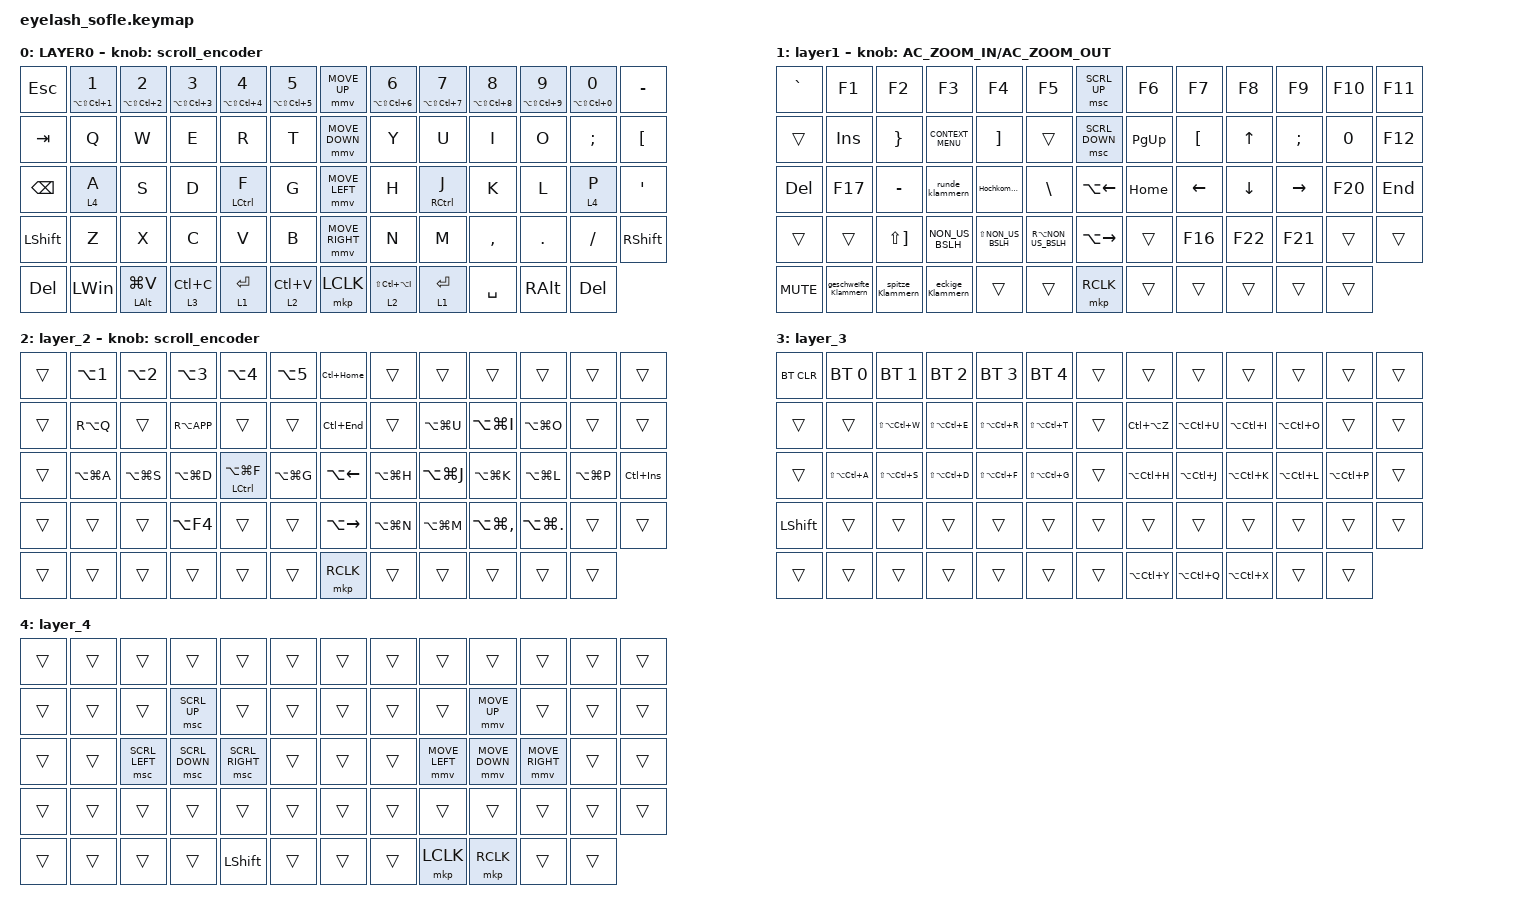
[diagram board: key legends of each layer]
#define ZMK_POINTING_DEFAULT_MOVE_VAL 1200  // 600
#define ZMK_POINTING_DEFAULT_SCRL_VAL 25   // 10

#include <input/processors.dtsi>
#include <zephyr/dt-bindings/input/input-event-codes.h>
#include <behaviors.dtsi>
#include <dt-bindings/zmk/bt.h>
#include <dt-bindings/zmk/keys.h>
#include <dt-bindings/zmk/pointing.h>

&mmv_input_listener { input-processors = <&zip_xy_scaler 2 1>; };

&msc_input_listener { input-processors = <&zip_scroll_scaler 2 1>; };

&msc {
    acceleration-exponent = <1>;      // 0
    time-to-max-speed-ms = <100>;       // 300
    delay-ms = <0>;                   // 0
};

&mmv {
    time-to-max-speed-ms = <500>;
    acceleration-exponent = <1>;
    trigger-period-ms = <16>;
};

&mt { flavor = "balanced"; };

/ {
    scroll_encoder: scroll_encoder {
        compatible = "zmk,behavior-sensor-rotate";
        #sensor-binding-cells = <0>;
        bindings = <&msc SCRL_DOWN>, <&msc SCRL_UP>;

        tap-ms = <100>;
    };

    homerow: homerow {
        compatible = "zmk,behavior-hold-tap";
        label = "HOMEROW";
        bindings = <&kp>, <&kp>;

        #binding-cells = <2>;
        tapping-term-ms = <200>;
        flavor = "balanced";
    };

    behaviors {
    };

    combos {
        compatible = "zmk,combos";

        Bluetooth_Layer {
            bindings = <&mo 3>;
            key-positions = <57 59>;
        };

        CapsLock {
            bindings = <&kp CAPSLOCK>;
            key-positions = <39 51>;
        };
    };

    macros {
        spitze_Klammern: spitze_Klammern {
            compatible = "zmk,behavior-macro";
            #binding-cells = <0>;
            bindings = <&kp NON_US_BACKSLASH &kp LS(NON_US_BACKSLASH) &kp LEFT>;
            label = "SPITZE_KLAMMERN";
        };

        geschweifte_Klammern: geschweifte_Klammern {
            compatible = "zmk,behavior-macro";
            #binding-cells = <0>;
            bindings = <&kp RA(N7) &kp RA(N0) &kp LEFT_ARROW>;
            label = "GESCHWEIFTE_KLAMMERN";
        };

        eckige_Klammern: eckige_Klammern {
            compatible = "zmk,behavior-macro";
            #binding-cells = <0>;
            bindings = <&kp RA(N8) &kp RA(N9) &kp LEFT>;
            label = "ECKIGE_KLAMMERN";
        };

        runde_klammern: runde_klammern {
            compatible = "zmk,behavior-macro";
            #binding-cells = <0>;
            bindings = <&kp LS(N8) &kp LS(N9) &kp LEFT>;
            label = "RUNDE_KLAMMERN";
        };

        Hochkommas: Hochkommas {
            compatible = "zmk,behavior-macro";
            #binding-cells = <0>;
            bindings = <&kp LS(NUMBER_2) &kp LS(NUMBER_2) &kp LEFT>;
            label = "HOCHKOMMAS";
        };
    };

    keymap {
        compatible = "zmk,keymap";

        layer0 {
            bindings = <
&kp ESC        &mt LA(LS(LC(NUMBER_1))) NUMBER_1  &mt LA(LS(LC(NUMBER_2))) NUMBER_2  &mt LA(LS(LC(NUMBER_3))) NUMBER_3  &mt LA(LS(LC(N4))) NUMBER_4  &mt LA(LS(LC(N5))) N5    &mmv MOVE_UP     &mt LA(LS(LC(NUMBER_6))) NUMBER_6  &mt LA(LS(LC(N7))) N7     &mt LA(LS(LC(N8))) N8  &mt LA(LS(LC(N9))) N9  &mt LA(LS(LC(N0))) N0  &kp MINUS
&kp TAB        &kp Q                              &kp W                              &kp E                              &kp R                        &kp T                    &mmv MOVE_DOWN   &kp Y                              &kp U                     &kp I                  &kp O                  &kp SEMI               &kp LBKT
&kp BACKSPACE  &lt 4 A                            &kp S                              &kp D                              &homerow LEFT_CONTROL F      &kp G                    &mmv MOVE_LEFT   &kp H                              &homerow RIGHT_CONTROL J  &kp K                  &kp L                  &lt 4 P                &kp APOS
&kp LSHFT      &kp Z                              &kp X                              &kp C                              &kp V                        &kp B                    &mmv MOVE_RIGHT  &kp N                              &kp M                     &kp COMMA              &kp DOT                &kp FSLH               &kp RIGHT_SHIFT
&kp DEL        &kp LEFT_WIN                       &mt LEFT_ALT LG(V)                 &lt 3 LC(C)                        &lt 1 ENTER                  &lt 2 LC(V)              &mkp LCLK        &lt 2 LS(LC(LA(I)))                &lt 1 ENTER               &kp SPACE              &kp RIGHT_ALT          &kp DELETE
            >;

            sensor-bindings = <&scroll_encoder>;
            display-name = "LAYER0";
        };

        layer_1 {
            bindings = <
&kp GRAVE   &kp F1                 &kp F2                 &kp F3              &kp F4               &kp F5                 &msc SCRL_UP    &kp F6     &kp F7            &kp F8    &kp F9         &kp F10  &kp F11
&trans      &kp INS                &kp RIGHT_BRACE        &kp K_CONTEXT_MENU  &kp RIGHT_BRACKET    &trans                 &msc SCRL_DOWN  &kp PG_UP  &kp LEFT_BRACKET  &kp UP    &kp SEMICOLON  &kp N0   &kp F12
&kp DEL     &kp F17                &kp MINUS              &runde_klammern     &Hochkommas          &kp BACKSLASH          &kp LA(LEFT)    &kp HOME   &kp LEFT          &kp DOWN  &kp RIGHT      &kp F20  &kp END
&trans      &trans                 &kp LS(RIGHT_BRACKET)  &kp NON_US_BSLH     &kp LS(NON_US_BSLH)  &kp RA(NON_US_BSLH)    &kp LA(RIGHT)   &trans     &kp F16           &kp F22   &kp F21        &trans   &trans
&kp C_MUTE  &geschweifte_Klammern  &spitze_Klammern       &eckige_Klammern    &trans               &trans                 &mkp RCLK       &trans     &trans            &trans    &trans         &trans
            >;

            display-name = "layer1";
            sensor-bindings = <&inc_dec_kp C_AC_ZOOM_IN C_AC_ZOOM_OUT>;
        };

        layer_2 {
            bindings = <
&trans  &kp LA(NUMBER_1)  &kp LA(NUMBER_2)  &kp LA(NUMBER_3)  &kp LA(NUMBER_4)     &kp LA(NUMBER_5)    &kp LC(HOME)   &trans         &trans         &trans             &trans              &trans         &trans
&trans  &kp RA(Q)         &trans            &kp RA(K_APP)     &trans               &trans              &kp LC(END)    &trans         &kp LA(LG(U))  &kp LA(LG(I))      &kp LA(LG(O))       &trans         &trans
&trans  &kp LA(LG(A))     &kp LA(LG(S))     &kp LA(LG(D))     &mt LCTRL LA(LG(F))  &kp LA(LG(G))       &kp LA(LEFT)   &kp LA(LG(H))  &kp LA(LG(J))  &kp LA(LG(K))      &kp LA(LG(L))       &kp LA(LG(P))  &kp LC(INSERT)
&trans  &trans            &trans            &kp LA(F4)        &trans               &trans              &kp LA(RIGHT)  &kp LA(LG(N))  &kp LA(LG(M))  &kp LA(LG(COMMA))  &kp LA(LG(PERIOD))  &trans         &trans
&trans  &trans            &trans            &trans            &trans               &trans              &mkp RCLK      &trans         &trans         &trans             &trans              &trans
            >;

            sensor-bindings = <&scroll_encoder>;
        };

        layer_3 {
            bindings = <
&bt BT_CLR      &bt BT_SEL 0       &bt BT_SEL 1       &bt BT_SEL 2       &bt BT_SEL 3       &bt BT_SEL 4         &trans  &trans         &trans         &trans         &trans         &trans         &trans
&trans          &trans             &kp LS(LA(LC(W)))  &kp LS(LA(LC(E)))  &kp LS(LA(LC(R)))  &kp LS(LA(LC(T)))    &trans  &kp LC(LA(Z))  &kp LA(LC(U))  &kp LA(LC(I))  &kp LA(LC(O))  &trans         &trans
&trans          &kp LS(LA(LC(A)))  &kp LS(LA(LC(S)))  &kp LS(LA(LC(D)))  &kp LS(LA(LC(F)))  &kp LS(LA(LC(G)))    &trans  &kp LA(LC(H))  &kp LA(LC(J))  &kp LA(LC(K))  &kp LA(LC(L))  &kp LA(LC(P))  &trans
&kp LEFT_SHIFT  &trans             &trans             &trans             &trans             &trans               &trans  &trans         &trans         &trans         &trans         &trans         &trans
&trans          &trans             &trans             &trans             &trans             &trans               &trans  &kp LA(LC(Y))  &kp LA(LC(Q))  &kp LA(LC(X))  &trans         &trans
            >;
        };

        layer_4 {
            bindings = <
&trans  &trans  &trans          &trans          &trans           &trans    &trans  &trans  &trans          &trans          &trans           &trans  &trans
&trans  &trans  &trans          &msc SCRL_UP    &trans           &trans    &trans  &trans  &trans          &mmv MOVE_UP    &trans           &trans  &trans
&trans  &trans  &msc SCRL_LEFT  &msc SCRL_DOWN  &msc SCRL_RIGHT  &trans    &trans  &trans  &mmv MOVE_LEFT  &mmv MOVE_DOWN  &mmv MOVE_RIGHT  &trans  &trans
&trans  &trans  &trans          &trans          &trans           &trans    &trans  &trans  &trans          &trans          &trans           &trans  &trans
&trans  &trans  &trans          &trans          &kp LEFT_SHIFT   &trans    &trans  &trans  &mkp LCLK       &mkp RCLK       &trans           &trans
            >;
        };
    };
};
